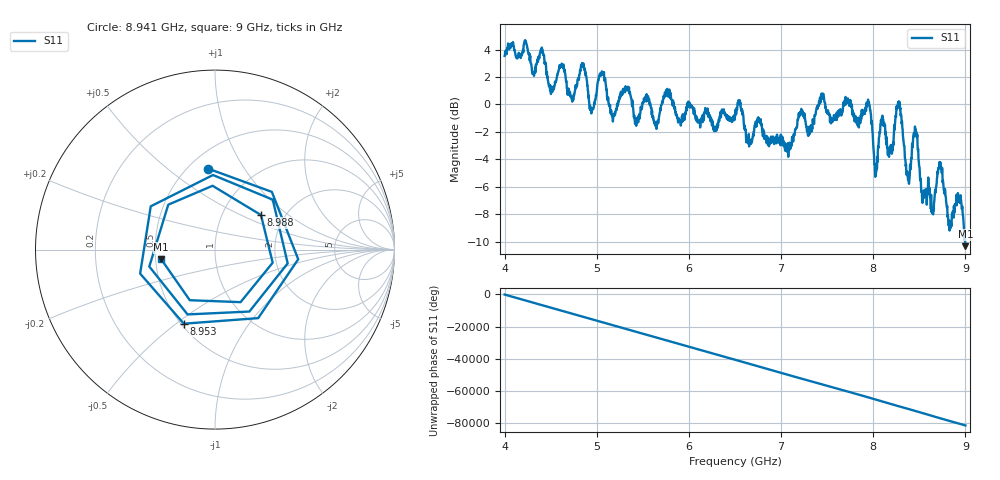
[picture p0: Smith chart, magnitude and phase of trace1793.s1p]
! Created with skrf 1.8.0 (http://scikit-rf.org).
# Hz S RI R 50.0
!freq ReS11 ImS11
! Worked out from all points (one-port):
!   1601 points, 4 GHz to 9 GHz, reference 50 ohm
!   lowest |S11| = -10.3 dB at 9 GHz (marker M1), VSWR 1.88, Z = 26.8 - j3.17 ohm
!   |S11| at or under -10 dB: 8.996676 GHz to end of sweep
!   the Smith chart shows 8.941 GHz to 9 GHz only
!   S11 on the Smith chart (normalised r, x): 8.941 GHz: 0.62, +0.70; 8.953 GHz: 0.52, -0.53; 8.988 GHz: 1.52, +0.65; 9 GHz: 0.54, -0.06
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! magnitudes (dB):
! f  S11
! 4 GHz  3.5
! 4.509 GHz  0.9
! 4.625 GHz  2.8
! 4.734 GHz  0.2
! 4.853 GHz  2.7
! 4.944 GHz  -0.5
! 5.053 GHz  2.2
! 5.172 GHz  -0.8
! 5.25 GHz  0.6
! 5.875 GHz  -1.0
! 6.5 GHz  -0.9
! 7.125 GHz  -2.4
! 7.75 GHz  0.3
! 7.95 GHz  0.0
! 8.028 GHz  -5.2
! 8.094 GHz  -1.0
! 8.188 GHz  -3.3
! 8.278 GHz  0.2
! 8.375 GHz  -5.2
! 8.456 GHz  -2.0
! 8.544 GHz  -6.7
! 8.65 GHz  -8.0
! 8.725 GHz  -4.5
! 8.825 GHz  -8.5
! 8.941 GHz  -6.9
! 8.953 GHz  -7.0
! 8.988 GHz  -9.9
! 9 GHz  -10.3
